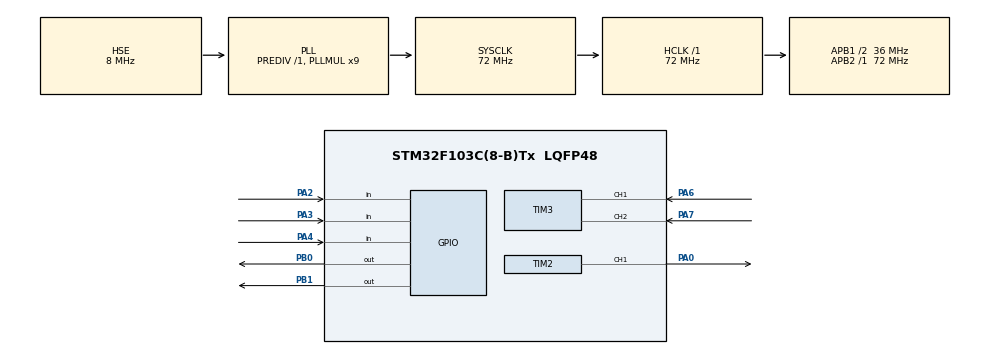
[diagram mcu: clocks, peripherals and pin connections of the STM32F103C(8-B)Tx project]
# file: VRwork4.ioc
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Mcu.Family=STM32F1
Mcu.Name=STM32F103C(8-B)Tx
Mcu.Package=LQFP48
NVIC.PriorityGroup=NVIC_PRIORITYGROUP_4
PA0-WKUP.Signal=S_TIM2_CH1_ETR
PA13.Mode=Serial_Wire
PA13.Signal=SYS_JTMS-SWDIO
PA14.Mode=Serial_Wire
PA14.Signal=SYS_JTCK-SWCLK
PA2.GPIO_Mode=GPIO_MODE_INPUT
PA2.GPIO_PuPd=GPIO_PULLUP
PA2.Signal=GPIO_Input
PA3.GPIO_PuPd=GPIO_PULLUP
PA3.Signal=GPIO_Input
PA4.GPIO_PuPd=GPIO_PULLUP
PA4.Signal=GPIO_Input
PA6.Signal=S_TIM3_CH1
PA7.Signal=S_TIM3_CH2
PB0.GPIO_ModeDefaultOutputPP=GPIO_MODE_OUTPUT_PP
PB0.Signal=GPIO_Output
PB1.GPIO_ModeDefaultOutputPP=GPIO_MODE_OUTPUT_PP
PB1.Signal=GPIO_Output
PD0-OSC_IN.Mode=HSE-External-Oscillator
PD0-OSC_IN.Signal=RCC_OSC_IN
PD1-OSC_OUT.Mode=HSE-External-Oscillator
PD1-OSC_OUT.Signal=RCC_OSC_OUT
ProjectManager.HeapSize=0x200
ProjectManager.StackSize=0x400
ProjectManager.TargetToolchain=MDK-ARM V5.32
RCC.AHBFreq_Value=72000000
RCC.APB1CLKDivider=RCC_HCLK_DIV2
RCC.APB1Freq_Value=36000000
RCC.APB1TimFreq_Value=72000000
RCC.APB2Freq_Value=72000000
RCC.APB2TimFreq_Value=72000000
RCC.HCLKFreq_Value=72000000
RCC.PLLMUL=RCC_PLL_MUL9
RCC.PLLSourceVirtual=RCC_PLLSOURCE_HSE
RCC.SYSCLKFreq_VALUE=72000000
RCC.SYSCLKSource=RCC_SYSCLKSOURCE_PLLCLK
RCC.USBFreq_Value=72000000
SH.S_TIM2_CH1_ETR.0=TIM2_CH1,PWM Generation1 CH1
SH.S_TIM3_CH1.0=TIM3_CH1,Encoder_Interface
SH.S_TIM3_CH2.0=TIM3_CH2,Encoder_Interface
TIM2.Channel-PWM\ Generation1\ CH1=TIM_CHANNEL_1
TIM2.Period=999
TIM2.Prescaler=71
TIM3.EncoderMode=TIM_ENCODERMODE_TI12
board=custom

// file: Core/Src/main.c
/* USER CODE BEGIN Header */
/**
  ******************************************************************************
  * @file           : main.c
  * @brief          : Main program body
  ******************************************************************************
  * @attention
  *
  * Copyright (c) 2025 STMicroelectronics.
  * All rights reserved.
  *
  * This software is licensed under terms that can be found in the LICENSE file
  * in the root directory of this software component.
  * If no LICENSE file comes with this software, it is provided AS-IS.
  *
  ******************************************************************************
  */
/* USER CODE END Header */
#include "main.h"

TIM_HandleTypeDef htim2;
TIM_HandleTypeDef htim3;

/* USER CODE BEGIN PV */
volatile int now=0;
volatile float Target_Speed=0;
volatile float Current_Speed=0;
float last_encoder_count=0;
float pulse_count=0;
float Kp=10.0;
float Ki=1.0;
float Kd=0.1;
float error=0;
float last_error=0;
float integral=0;
float derivative=0;
float output_pwm=0;
/* USER CODE END PV */

void SystemClock_Config(void);
static void MX_GPIO_Init(void);
static void MX_TIM2_Init(void);
static void MX_TIM3_Init(void);
/* USER CODE BEGIN PFP */
void PID_Control(void);
void Set_Speed(void);

/* USER CODE END PFP */

/* USER CODE BEGIN 0 */
void Set_Speed(void)
{
if(!HAL_GPIO_ReadPin(GPIOA,GPIO_PIN_2))
{
	HAL_Delay(20);
	if(!HAL_GPIO_ReadPin(GPIOA,GPIO_PIN_2))
	{now=1;}
}
if(!HAL_GPIO_ReadPin(GPIOA,GPIO_PIN_3))
{
	HAL_Delay(20);
	if(!HAL_GPIO_ReadPin(GPIOA,GPIO_PIN_3))
	{now=2;}
}
if(!HAL_GPIO_ReadPin(GPIOA,GPIO_PIN_4))
{
	HAL_Delay(20);
	if(!HAL_GPIO_ReadPin(GPIOA,GPIO_PIN_4))
	{now=3;}
}
if(now==1)
	Target_Speed=1;
if(now==2)
	Target_Speed=2;
if(now==3)
	Target_Speed=3;
integral=0;
last_error=0;
}

void Speed_Measurement(void)
{
    static uint32_t last_time = 0;
    static int32_t last_encoder_value = 0;

    uint32_t current_time = HAL_GetTick();
    uint32_t time_interval = current_time - last_time;

    if(time_interval < 50)
    {
        return;
    }

    int32_t current_encoder_value = (int32_t)TIM3->CNT;

    int32_t pulse_diff = current_encoder_value - last_encoder_value;

    float time_in_seconds = time_interval / 1000.0f;

    Current_Speed = (pulse_diff / 1040.0f) / time_in_seconds;

    last_encoder_value = current_encoder_value;
    last_time = current_time;
}

void PID_Control(void)
{
error=Target_Speed-Current_Speed;
integral+=error;
if(integral>1000)integral=1000;
if(integral<-1000)integral=-1000;
derivative=error-last_error;
output_pwm=Kp*error+Ki*integral+Kd*derivative;
if(output_pwm>999)output_pwm=999;
if(output_pwm<0)output_pwm=0;
__HAL_TIM_SET_COMPARE(&htim2,TIM_CHANNEL_1,output_pwm);
last_error=error;
}
/* USER CODE END 0 */

int main(void)
{

  /* MCU Configuration--------------------------------------------------------*/

  /* Reset of all peripherals, Initializes the Flash interface and the Systick. */
  HAL_Init();

  /* Configure the system clock */
  SystemClock_Config();

  /* Initialize all configured peripherals */
  MX_GPIO_Init();
  MX_TIM2_Init();
  MX_TIM3_Init();
  /* USER CODE BEGIN 2 */
HAL_TIM_PWM_Start(&htim2, TIM_CHANNEL_1);
HAL_TIM_Encoder_Start(&htim3, TIM_CHANNEL_ALL);
  /* USER CODE END 2 */

  /* Infinite loop */
  while (1)
  {

  }
}

void SystemClock_Config(void)
{
  RCC_OscInitTypeDef RCC_OscInitStruct = {0};
  RCC_ClkInitTypeDef RCC_ClkInitStruct = {0};

  /** Initializes the RCC Oscillators according to the specified parameters
  * in the RCC_OscInitTypeDef structure.
  */
  RCC_OscInitStruct.OscillatorType = RCC_OSCILLATORTYPE_HSE;
  RCC_OscInitStruct.HSEState = RCC_HSE_ON;
  RCC_OscInitStruct.HSEPredivValue = RCC_HSE_PREDIV_DIV1;
  RCC_OscInitStruct.HSIState = RCC_HSI_ON;
  RCC_OscInitStruct.PLL.PLLState = RCC_PLL_ON;
  RCC_OscInitStruct.PLL.PLLSource = RCC_PLLSOURCE_HSE;
  RCC_OscInitStruct.PLL.PLLMUL = RCC_PLL_MUL9;
  if (HAL_RCC_OscConfig(&RCC_OscInitStruct) != HAL_OK)
  {
    Error_Handler();
  }

  /** Initializes the CPU, AHB and APB buses clocks
  */
  RCC_ClkInitStruct.ClockType = RCC_CLOCKTYPE_HCLK|RCC_CLOCKTYPE_SYSCLK
                              |RCC_CLOCKTYPE_PCLK1|RCC_CLOCKTYPE_PCLK2;
  RCC_ClkInitStruct.SYSCLKSource = RCC_SYSCLKSOURCE_PLLCLK;
  RCC_ClkInitStruct.AHBCLKDivider = RCC_SYSCLK_DIV1;
  RCC_ClkInitStruct.APB1CLKDivider = RCC_HCLK_DIV2;
  RCC_ClkInitStruct.APB2CLKDivider = RCC_HCLK_DIV1;

  if (HAL_RCC_ClockConfig(&RCC_ClkInitStruct, FLASH_LATENCY_2) != HAL_OK)
  {
    Error_Handler();
  }
}

static void MX_TIM2_Init(void)
{

  TIM_MasterConfigTypeDef sMasterConfig = {0};
  TIM_OC_InitTypeDef sConfigOC = {0};

  htim2.Instance = TIM2;
  htim2.Init.Prescaler = 71;
  htim2.Init.CounterMode = TIM_COUNTERMODE_UP;
  htim2.Init.Period = 999;
  htim2.Init.ClockDivision = TIM_CLOCKDIVISION_DIV1;
  htim2.Init.AutoReloadPreload = TIM_AUTORELOAD_PRELOAD_DISABLE;
  if (HAL_TIM_PWM_Init(&htim2) != HAL_OK)
  {
    Error_Handler();
  }
  sMasterConfig.MasterOutputTrigger = TIM_TRGO_RESET;
  sMasterConfig.MasterSlaveMode = TIM_MASTERSLAVEMODE_DISABLE;
  if (HAL_TIMEx_MasterConfigSynchronization(&htim2, &sMasterConfig) != HAL_OK)
  {
    Error_Handler();
  }
  sConfigOC.OCMode = TIM_OCMODE_PWM1;
  sConfigOC.Pulse = 0;
  sConfigOC.OCPolarity = TIM_OCPOLARITY_HIGH;
  sConfigOC.OCFastMode = TIM_OCFAST_DISABLE;
  if (HAL_TIM_PWM_ConfigChannel(&htim2, &sConfigOC, TIM_CHANNEL_1) != HAL_OK)
  {
    Error_Handler();
  }
  HAL_TIM_MspPostInit(&htim2);

}

static void MX_TIM3_Init(void)
{

  TIM_Encoder_InitTypeDef sConfig = {0};
  TIM_MasterConfigTypeDef sMasterConfig = {0};

  htim3.Instance = TIM3;
  htim3.Init.Prescaler = 0;
  htim3.Init.CounterMode = TIM_COUNTERMODE_UP;
  htim3.Init.Period = 65535;
  htim3.Init.ClockDivision = TIM_CLOCKDIVISION_DIV1;
  htim3.Init.AutoReloadPreload = TIM_AUTORELOAD_PRELOAD_DISABLE;
  sConfig.EncoderMode = TIM_ENCODERMODE_TI12;
  sConfig.IC1Polarity = TIM_ICPOLARITY_RISING;
  sConfig.IC1Selection = TIM_ICSELECTION_DIRECTTI;
  sConfig.IC1Prescaler = TIM_ICPSC_DIV1;
  sConfig.IC1Filter = 0;
  sConfig.IC2Polarity = TIM_ICPOLARITY_RISING;
  sConfig.IC2Selection = TIM_ICSELECTION_DIRECTTI;
  sConfig.IC2Prescaler = TIM_ICPSC_DIV1;
  sConfig.IC2Filter = 0;
  if (HAL_TIM_Encoder_Init(&htim3, &sConfig) != HAL_OK)
  {
    Error_Handler();
  }
  sMasterConfig.MasterOutputTrigger = TIM_TRGO_RESET;
  sMasterConfig.MasterSlaveMode = TIM_MASTERSLAVEMODE_DISABLE;
  if (HAL_TIMEx_MasterConfigSynchronization(&htim3, &sMasterConfig) != HAL_OK)
  {
    Error_Handler();
  }

}

static void MX_GPIO_Init(void)
{
  GPIO_InitTypeDef GPIO_InitStruct = {0};

  /* GPIO Ports Clock Enable */
  __HAL_RCC_GPIOD_CLK_ENABLE();
  __HAL_RCC_GPIOA_CLK_ENABLE();
  __HAL_RCC_GPIOB_CLK_ENABLE();

  /*Configure GPIO pin Output Level */
  HAL_GPIO_WritePin(GPIOB, GPIO_PIN_0|GPIO_PIN_1, GPIO_PIN_RESET);

  /*Configure GPIO pins : PA2 PA3 PA4 */
  GPIO_InitStruct.Pin = GPIO_PIN_2|GPIO_PIN_3|GPIO_PIN_4;
  GPIO_InitStruct.Mode = GPIO_MODE_INPUT;
  GPIO_InitStruct.Pull = GPIO_PULLUP;
  HAL_GPIO_Init(GPIOA, &GPIO_InitStruct);

  /*Configure GPIO pins : PB0 PB1 */
  GPIO_InitStruct.Pin = GPIO_PIN_0|GPIO_PIN_1;
  GPIO_InitStruct.Mode = GPIO_MODE_OUTPUT_PP;
  GPIO_InitStruct.Pull = GPIO_NOPULL;
  GPIO_InitStruct.Speed = GPIO_SPEED_FREQ_LOW;
  HAL_GPIO_Init(GPIOB, &GPIO_InitStruct);

}

void Error_Handler(void)
{
  __disable_irq();
  while (1)
  {
  }
}
